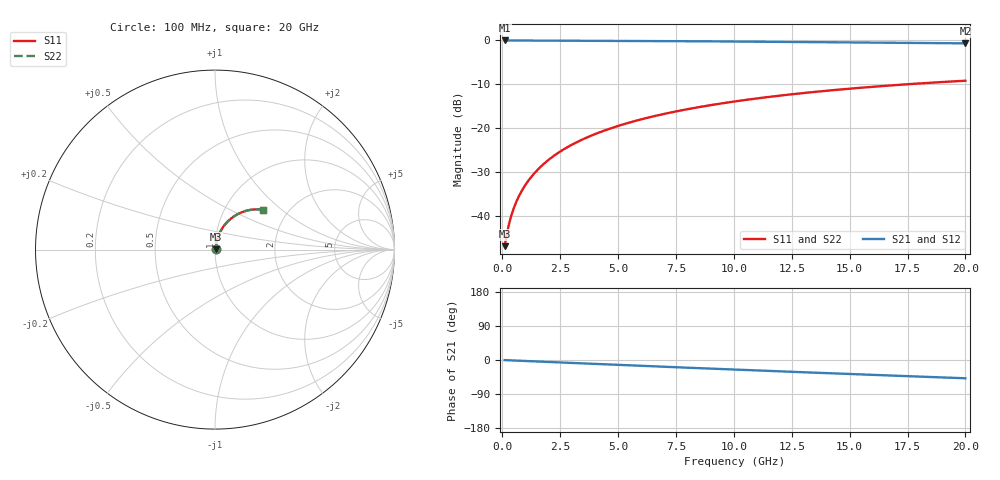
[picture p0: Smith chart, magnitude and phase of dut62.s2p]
! Touchstone file exported from HFSS 2026.1.0
!  File:  C:/ffzhzh/LocalFiles/Ansys_Project_Files/temp_train_BSMRDL_62_1782882764_42304.aedt
!  Generated:  01:13:58 PM Jul  1, 2026
!  Design:  BSMRDL
!  Project:  temp_train_BSMRDL_62_1782882764_42304
! Variables:
!  h_bsmrdl = 3.39um
!  h_ox = 20um
!  h_rdl = 5um
!  h_sub = 80um
!  h_tmrdl = 5um
!  h_tsv = 80um
!  h_via = 3um
!  l_bsmrdl = 768.99um
!  l_sub = 1168.99um
!  l_tmrdl = 200um
!  m_sub = 200um
!  pitch = 39.64um
!  r_tsv = 6um
!  s_tmrdl = 10um
!  w_bsmrdl = 22.12um
!  w_sub = 500um
!  w_tmrdl = 12um
!  x_tsv_center1 = 206um
!  x_tsv_center2 = 997.11um
!  x_tsv_center3 = 1209.11um
!  x_tsv_center4 = 2000.22um
!  x_tsv_center5 = 2212.22um
!  x_tsv_center6 = 3003.33um
# GHz S MA R 50.000000
! Terminal data exported
! Port[1] = BSM_RDL1_1_T1
! Port[2] = BSM_RDL1_1_T2
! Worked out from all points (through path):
!   200 points, 100 MHz to 20 GHz, reference 50 ohm
!   highest |S21| = -0.03 dB at 100 MHz (marker M1); lowest = -0.7 dB at 20 GHz (marker M2)
!   group delay of S21, straight-line fit = 6.69 ps
!   lowest |S11| = -46.8 dB at 100 MHz (marker M3), VSWR 1.01, Z = 50.4 + j0.252 ohm
!   |S11| at or under -10 dB: start of sweep to 17.44 GHz
!   |S22| runs from -46.8 to -9.2 dB; largest |S21 - S12| = 3.3e-15
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0.1  0.004595 33.0  0.9962 -0.3  0.9962 -0.3  0.004595 33.0
! Gamma 0 0 0 0
! Port Impedance 50 0 50 0
0.2  0.00639 50.1  0.9959 -0.6  0.9959 -0.6  0.00639 50.1
0.3  0.008412 58.5  0.9957 -0.8  0.9957 -0.8  0.008412 58.5
0.4  0.01046 63.4  0.9955 -1.1  0.9955 -1.1  0.01046 63.4
0.5  0.0125 66.7  0.9953 -1.3  0.9953 -1.3  0.0125 66.7
0.6  0.01454 69.1  0.9951 -1.6  0.9951 -1.6  0.01454 69.1
0.8  0.01866 72.4  0.9949 -2.1  0.9949 -2.1  0.01866 72.4
1.1  0.02491 75.1  0.9946 -2.9  0.9946 -2.9  0.02491 75.1
1.3  0.02911 76.2  0.9944 -3.4  0.9944 -3.4  0.02911 76.2
1.6  0.03546 77.1  0.9941 -4.2  0.9941 -4.2  0.03546 77.1
2.1  0.04607 77.6  0.9934 -5.4  0.9934 -5.4  0.04607 77.6
2.7  0.05879 77.3  0.9924 -7.0  0.9924 -7.0  0.05879 77.3
3.5  0.07562 76.2  0.9908 -9.0  0.9908 -9.0  0.07562 76.2
4.2  0.09017 74.9  0.9892 -10.8  0.9892 -10.8  0.09017 74.9
5  0.1066 73.2  0.987 -12.8  0.987 -12.8  0.1066 73.2
5.9  0.1246 71.2  0.9843 -15.1  0.9843 -15.1  0.1246 71.2
6.8  0.1423 69.2  0.9812 -17.3  0.9812 -17.3  0.1423 69.2
8.3  0.1708 65.7  0.9757 -21.0  0.9757 -21.0  0.1708 65.7
10.1  0.2033 61.6  0.9684 -25.4  0.9684 -25.4  0.2033 61.6
13.4  0.2581 54.0  0.9539 -33.3  0.9539 -33.3  0.2581 54.1
16.7  0.3064 46.7  0.9387 -40.8  0.9387 -40.8  0.3063 46.8
20  0.3477 39.6  0.9237 -48.2  0.9237 -48.2  0.3477 39.7
